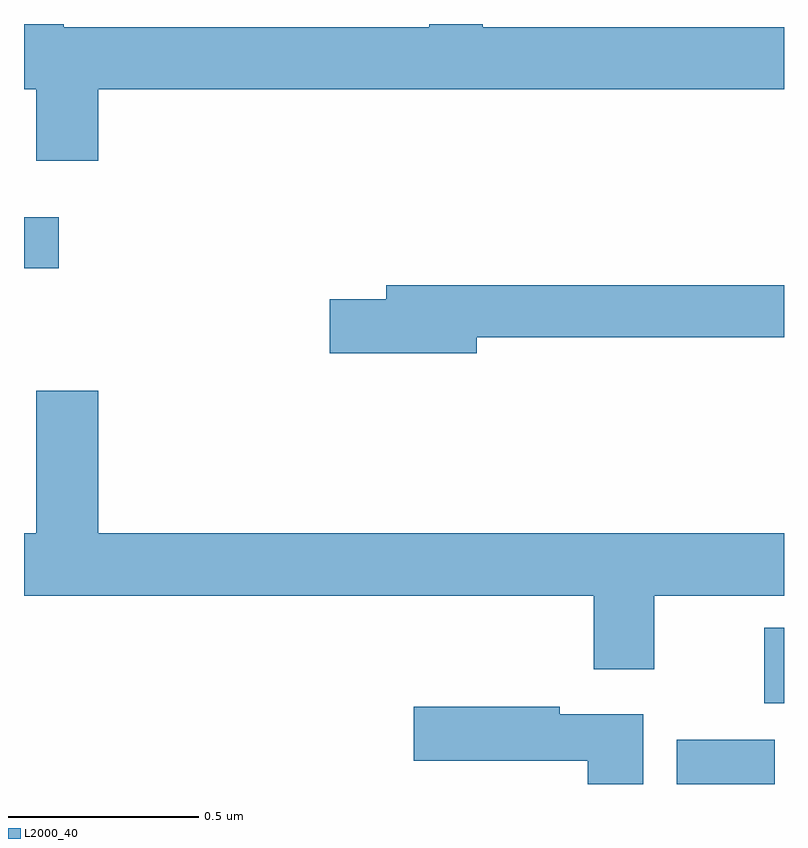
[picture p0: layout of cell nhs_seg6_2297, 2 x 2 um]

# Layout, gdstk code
import gdstk
lib = gdstk.Library(unit=1e-6, precision=1e-09)
def R(c, l, rs):  # rectangles x0, y0, x1, y1
    for r in rs: c.add(gdstk.rectangle(r[:2], r[2:], *l))
def P(c, l, *ps):  # polygons
    for p in ps: c.add(gdstk.Polygon(p, *l))
L2000_40 = (2000, 40)

nhs_seg6_2297 = lib.new_cell('nhs_seg6_2297')
R(nhs_seg6_2297, L2000_40, [(142.718,953.5,142.975,953.617), (142.948,953.712,143,953.911), (141,954.857,141.091,954.991)])
P(nhs_seg6_2297, L2000_40, [(141.196,955.328),(143,955.328),(143,955.492),(142.207,955.492),(142.207,955.5),(142.067,955.5),(142.067,955.492),(141.105,955.492),(141.105,955.5),(141,955.5),(141,955.328),(141.032,955.328),(141.032,955.14),(141.196,955.14)],
  [(142.192,954.676),(143,954.676),(143,954.812),(141.953,954.812),(141.953,954.776),(141.804,954.776),(141.804,954.634),(142.192,954.634)],
  [(142.659,953.996),(143,953.996),(143,954.16),(141.196,954.16),(141.196,954.535),(141.032,954.535),(141.032,954.16),(141,954.16),(141,953.996),(142.499,953.996),(142.499,953.802),(142.659,953.802)],
  [(142.63,953.683),(142.41,953.683),(142.41,953.703),(142.026,953.703),(142.026,953.561),(142.484,953.561),(142.484,953.5),(142.63,953.5)])

lib.write_gds('nhs_seg6_2297.gds')
